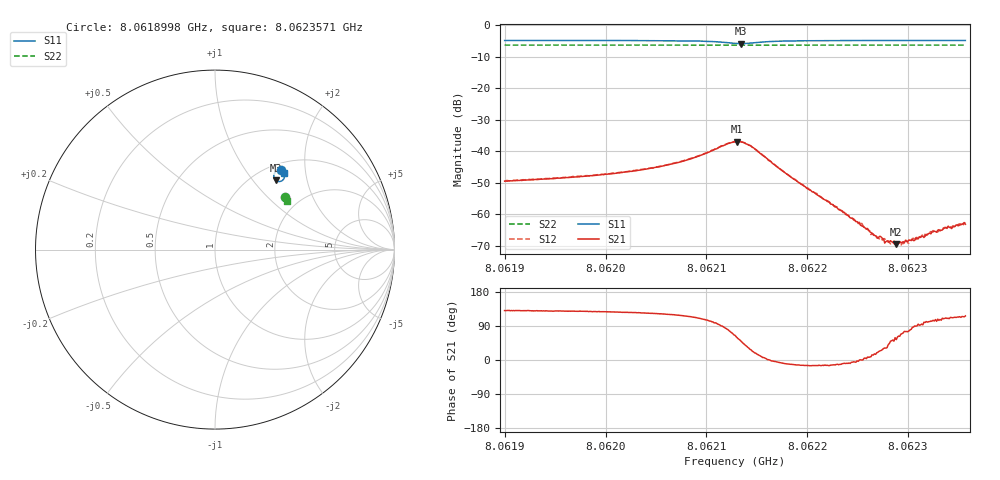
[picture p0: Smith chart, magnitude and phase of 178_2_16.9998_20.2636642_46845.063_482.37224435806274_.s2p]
#  HZ  S  RI  R  50.00
! Rohde & Schwarz Vector Network Analyzer
! Rohde-Schwarz,ZNB20-2Port,1311601062101988,3.16
! Created: UTC 3/20/2024, 11:00:02 PM
! freq[Hz]  re:S11  im:S11  re:S21  im:S21  re:S12  im:S12  re:S22  im:S22
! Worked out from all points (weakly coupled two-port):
!   401 points, 8.0618998 GHz to 8.0623571 GHz, reference 50 ohm
!   highest |S21| = -36.94 dB at 8.0621308 GHz (marker M1); lowest = -69.5 dB at 8.0622885 GHz (marker M2)
!   lowest |S11| = -5.8 dB at 8.0621342 GHz (marker M3), VSWR 3.11, Z = 62.7 + j65.8 ohm
!   |S11| at or under -10 dB: nowhere
!   |S22| runs from -6.3 to -6.3 dB; largest |S21 - S12| = 0.0011
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8.06189983e9  0.3699 0.4412  -0.00217 0.00255  -0.00206 0.00269  0.3875 0.2936
8.06197643e9  0.376 0.4354  -0.00247 0.00312  -0.00232 0.00325  0.39 0.2898
8.06205303e9  0.3838 0.4246  -0.00299 0.00479  -0.00275 0.00502  0.3928 0.2856
8.06208504e9  0.3874 0.4135  -0.00309 0.00697  -0.00271 0.00725  0.3938 0.2837
8.06212849e9  0.3521 0.3797  0.00596 0.0127  0.00695 0.0124  0.393 0.2807
8.06213077e9  0.3463 0.3814  0.00748 0.0121  0.00811 0.0118  0.3929 0.2808
8.0621342e9  0.3381 0.3862  0.009 0.0109  0.00982 0.0104  0.3927 0.2809
8.06214564e9  0.3275 0.4122  0.0106 0.00455  0.011 0.00405  0.3931 0.2818
8.06217193e9  0.349 0.4383  0.00536 -0.000601  0.00537 -0.000938  0.3951 0.2815
8.06220509e9  0.3652 0.4387  0.00219 -0.000579  0.0022 -0.000688  0.3969 0.2795
8.06225425e9  0.3752 0.4347  0.000651 6.93e-07  0.000714 -3.38e-05  0.3989 0.2769
8.06226797e9  0.3771 0.4337  0.000438 0.000116  0.000446 0.000137  0.3993 0.2762
8.06227368e9  0.3777 0.4333  0.000389 0.000185  0.00038 0.000139  0.3995 0.2758
8.0622794e9  0.3784 0.4328  0.000315 0.000203  0.000316 0.000208  0.3998 0.2756
8.06228169e9  0.3786 0.4327  0.000262 0.000248  0.000253 0.000251  0.3999 0.2755
8.06228855e9  0.3794 0.4321  0.000197 0.000271  0.000174 0.000256  0.4 0.2751
8.06229083e9  0.3795 0.432  0.000157 0.000309  0.000195 0.000291  0.4002 0.275
8.06230798e9  0.3815 0.4309  5.06e-06 0.000424  4.06e-05 0.000393  0.4007 0.2741
8.06232284e9  0.3827 0.4299  -0.000106 0.000476  -6.13e-05 0.000526  0.4012 0.2734
8.06233085e9  0.3834 0.4294  -0.000141 0.000548  -0.000105 0.000535  0.4015 0.273
8.06233771e9  0.3839 0.4289  -0.000218 0.000574  -0.000179 0.000585  0.4017 0.2727
8.06235714e9  0.3855 0.4276  -0.000308 0.00062  -0.000303 0.000668  0.4022 0.2717
